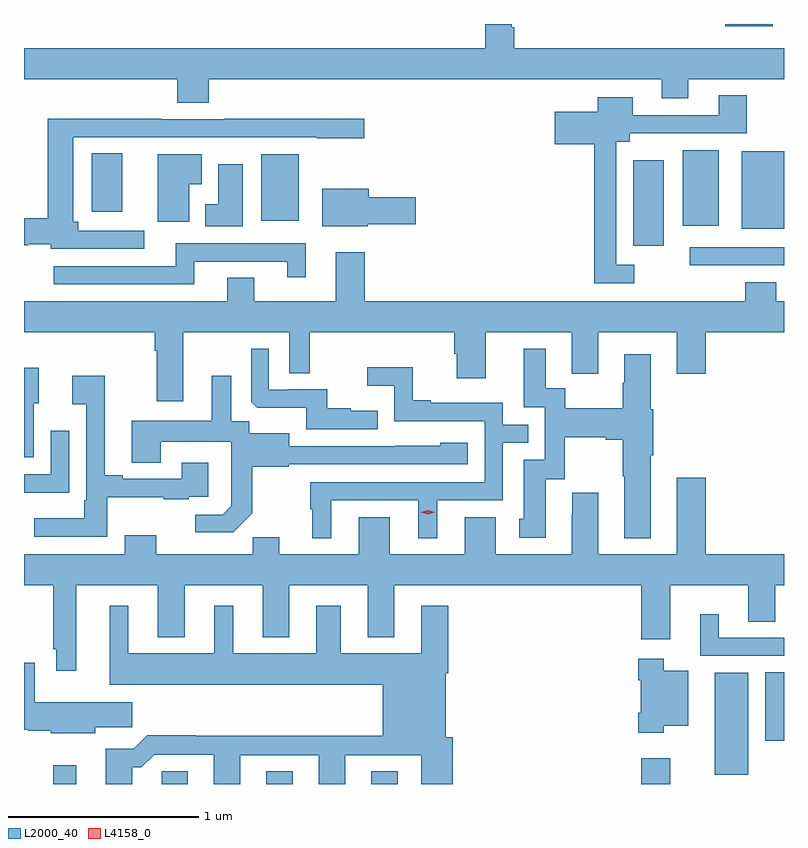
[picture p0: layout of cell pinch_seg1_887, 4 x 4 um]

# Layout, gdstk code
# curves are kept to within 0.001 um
import gdstk
lib = gdstk.Library(unit=1e-6, precision=1e-09)
def R(c, l, rs):  # rectangles x0, y0, x1, y1
    for r in rs: c.add(gdstk.rectangle(r[:2], r[2:], *l))
def P(c, l, *ps):  # polygons
    for p in ps: c.add(gdstk.Polygon(p, *l))
L2000_40 = (2000, 40)
L4158_0 = (4158, 0)

pinch_seg1_887 = lib.new_cell('pinch_seg1_887')
R(pinch_seg1_887, L2000_40, [(528.57,537.367,528.691,537.466), (529.14,537.367,529.279,537.434), (529.691,537.367,529.831,537.434), (530.243,537.367,530.383,537.434), (531.665,537.367,531.817,537.502), (532.052,537.416,532.228,537.952), (532.316,537.594,532.416,537.956), (531.921,540.096,532.416,540.192), (531.623,540.201,531.784,540.649), (532.193,540.29,532.416,540.697), (531.884,540.305,532.072,540.703), (529.664,540.332,529.861,540.682), (528.773,540.378,528.934,540.686), (532.106,541.355,532.357,541.367)])
P(pinch_seg1_887, L2000_40, [(529.388,541.076),(531.773,541.076),(531.773,540.977),(531.913,540.977),(531.913,541.076),(532.416,541.076),(532.416,541.24),(530.996,541.24),(530.996,541.35),(530.982,541.35),(530.982,541.367),(530.843,541.367),(530.843,541.24),(528.416,541.24),(528.416,541.076),(529.223,541.076),(529.223,540.952),(529.388,540.952)],
  [(531.628,540.099),(531.534,540.099),(531.534,540.746),(531.604,540.746),(531.604,540.792),(532.221,540.792),(532.221,540.991),(532.073,540.991),(532.073,540.888),(531.619,540.888),(531.619,540.982),(531.437,540.982),(531.437,540.904),(531.21,540.904),(531.21,540.734),(531.418,540.734),(531.418,540.003),(531.628,540.003)],
  [(529.048,540.279),(528.702,540.279),(528.702,540.327),(528.676,540.327),(528.676,540.771),(529.957,540.771),(529.957,540.766),(530.206,540.766),(530.206,540.869),(529.471,540.869),(529.471,540.867),(529.139,540.867),(529.139,540.869),(528.542,540.869),(528.542,540.344),(528.416,540.344),(528.416,540.202),(528.438,540.202),(528.438,540.209),(528.558,540.209),(528.558,540.183),(529.048,540.183)],
  [(529.285,540.524),(529.351,540.524),(529.351,540.682),(529.121,540.682),(529.121,540.327),(529.285,540.327)],
  [(529.567,540.628),(529.439,540.628),(529.439,540.418),(529.37,540.418),(529.37,540.302),(529.567,540.302)],
  [(530.226,540.313),(530.479,540.313),(530.479,540.455),(530.23,540.455),(530.23,540.499),(529.985,540.499),(529.985,540.302),(530.226,540.302)],
  [(529.312,540.117),(529.802,540.117),(529.802,540.033),(529.9,540.033),(529.9,540.213),(529.214,540.213),(529.214,540.093),(528.573,540.093),(528.573,539.997),(529.312,539.997)],
  [(529.255,539.744),(529.812,539.744),(529.812,539.53),(529.921,539.53),(529.921,539.744),(530.681,539.744),(530.681,539.631),(530.693,539.631),(530.693,539.502),(530.845,539.502),(530.845,539.744),(531.299,539.744),(531.299,539.526),(531.439,539.526),(531.439,539.744),(531.851,539.744),(531.851,539.526),(532.004,539.526),(532.004,539.744),(532.416,539.744),(532.416,539.908),(532.376,539.908),(532.376,540.007),(532.211,540.007),(532.211,539.908),(530.21,539.908),(530.21,540.166),(530.057,540.166),(530.057,539.908),(529.627,539.908),(529.627,540.032),(529.487,540.032),(529.487,539.908),(528.416,539.908),(528.416,539.744),(529.103,539.744),(529.103,539.648),(529.115,539.648),(529.115,539.382),(529.255,539.382)],
  [(530.279,539.332),(530.135,539.332),(530.135,539.344),(530.012,539.344),(530.012,539.445),(529.804,539.445),(529.804,539.442),(529.704,539.442),(529.704,539.659),(529.611,539.659),(529.611,539.379),(529.643,539.348),(529.902,539.348),(529.902,539.235),(530.279,539.235)],
  [(531.715,539.096),(531.728,539.096),(531.728,539.34),(531.715,539.34),(531.715,539.629),(531.575,539.629),(531.575,539.478),(531.568,539.478),(531.568,539.344),(531.265,539.344),(531.265,539.45),(531.163,539.45),(531.163,539.659),(531.047,539.659),(531.047,539.349),(531.156,539.349),(531.156,539.073),(531.047,539.073),(531.047,538.764),(531.023,538.764),(531.023,538.662),(531.163,538.662),(531.163,538.97),(531.261,538.97),(531.261,539.192),(531.479,539.192),(531.479,539.18),(531.568,539.18),(531.568,538.987),(531.575,538.987),(531.575,538.661),(531.715,538.661)],
  [(530.032,538.86),(530.492,538.86),(530.492,538.661),(530.59,538.661),(530.59,538.86),(530.937,538.86),(530.937,539.163),(531.071,539.163),(531.071,539.259),(530.937,539.259),(530.937,539.373),(530.557,539.373),(530.557,539.386),(530.463,539.386),(530.463,539.561),(530.223,539.561),(530.223,539.462),(530.364,539.462),(530.364,539.277),(530.841,539.277),(530.841,538.956),(529.923,538.956),(529.923,538.812),(529.934,538.812),(529.934,538.661),(530.032,538.661)],
  [(528.468,539.37),(528.493,539.37),(528.493,539.558),(528.416,539.558),(528.416,539.088),(528.468,539.088)],
  [(528.853,538.877),(529.151,538.877),(529.151,538.866),(529.283,538.866),(529.283,538.878),(529.387,538.878),(529.387,539.059),(529.247,539.059),(529.247,538.974),(528.937,538.974),(528.937,538.993),(528.841,538.993),(528.841,539.515),(528.669,539.515),(528.669,539.366),(528.744,539.366),(528.744,538.861),(528.732,538.861),(528.732,538.765),(528.471,538.765),(528.471,538.668),(528.853,538.668)],
  [(529.617,538.791),(529.617,539.037),(529.809,539.037),(529.809,539.049),(530.752,539.049),(530.752,539.164),(530.607,539.164),(530.607,539.146),(529.813,539.145),(529.813,539.212),(529.602,539.212),(529.602,539.276),(529.507,539.276),(529.507,539.515),(529.403,539.515),(529.403,539.278),(528.983,539.278),(528.983,539.059),(529.135,539.059),(529.135,539.168),(529.506,539.168),(529.506,538.927),(529.508,538.927),(529.508,538.832),(529.461,538.785),(529.317,538.785),(529.317,538.691),(529.517,538.691)],
  [(528.654,539.227),(528.558,539.227),(528.558,538.998),(528.416,538.998),(528.416,538.901),(528.654,538.901)],
  [(528.691,538.412),(529.121,538.412),(529.121,538.139),(529.261,538.139),(529.261,538.412),(529.673,538.412),(529.673,538.139),(529.813,538.139),(529.813,538.412),(530.225,538.412),(530.225,538.139),(530.365,538.139),(530.365,538.412),(531.665,538.412),(531.665,538.128),(531.817,538.128),(531.817,538.412),(532.229,538.412),(532.229,538.222),(532.369,538.222),(532.369,538.412),(532.416,538.412),(532.416,538.576),(532.004,538.576),(532.004,538.978),(531.851,538.978),(531.851,538.576),(531.439,538.576),(531.439,538.9),(531.302,538.9),(531.302,538.787),(531.299,538.787),(531.299,538.576),(530.899,538.576),(530.899,538.771),(530.735,538.771),(530.735,538.576),(530.341,538.576),(530.341,538.771),(530.177,538.771),(530.177,538.576),(529.759,538.576),(529.759,538.667),(529.621,538.667),(529.621,538.576),(529.111,538.576),(529.111,538.675),(528.947,538.675),(528.947,538.576),(528.416,538.576),(528.416,538.412),(528.57,538.412),(528.57,538.075),(528.587,538.075),(528.587,537.963),(528.691,537.963)],
  [(528.985,537.455),(529.034,537.455),(529.101,537.522),(529.415,537.522),(529.415,537.367),(529.555,537.367),(529.555,537.519),(529.967,537.519),(529.967,537.367),(530.107,537.367),(530.107,537.519),(530.507,537.519),(530.507,537.367),(530.672,537.367),(530.672,537.612),(530.635,537.612),(530.635,537.95),(530.648,537.95),(530.648,538.306),(530.507,538.306),(530.507,538.054),(530.083,538.054),(530.083,538.306),(529.955,538.306),(529.955,538.054),(529.516,538.054),(529.516,538.306),(529.418,538.306),(529.418,538.054),(528.964,538.054),(528.964,538.306),(528.866,538.306),(528.866,537.89),(530.303,537.89),(530.303,537.62),(529.319,537.62),(529.319,537.623),(529.064,537.623),(528.994,537.553),(528.845,537.553),(528.845,537.367),(528.985,537.367)],
  [(532.416,538.137),(532.072,538.137),(532.072,538.261),(531.974,538.261),(531.974,538.041),(532.416,538.041)],
  [(531.784,537.674),(531.913,537.674),(531.913,537.964),(531.784,537.964),(531.784,538.027),(531.65,538.027),(531.65,537.914),(531.662,537.914),(531.662,537.742),(531.65,537.742),(531.65,537.638),(531.784,537.638)],
  [(528.79,537.667),(528.985,537.667),(528.985,537.796),(528.472,537.796),(528.472,538.006),(528.416,538.006),(528.416,537.653),(528.438,537.653),(528.438,537.646),(528.558,537.646),(528.558,537.635),(528.79,537.635)])
P(pinch_seg1_887, L4158_0, [(530.541,538.788),(530.505,538.798),(530.505,538.798),(530.505,538.798),(530.541,538.808),(530.577,538.798),(530.577,538.798),(530.577,538.798)])

lib.write_gds('pinch_seg1_887.gds')
